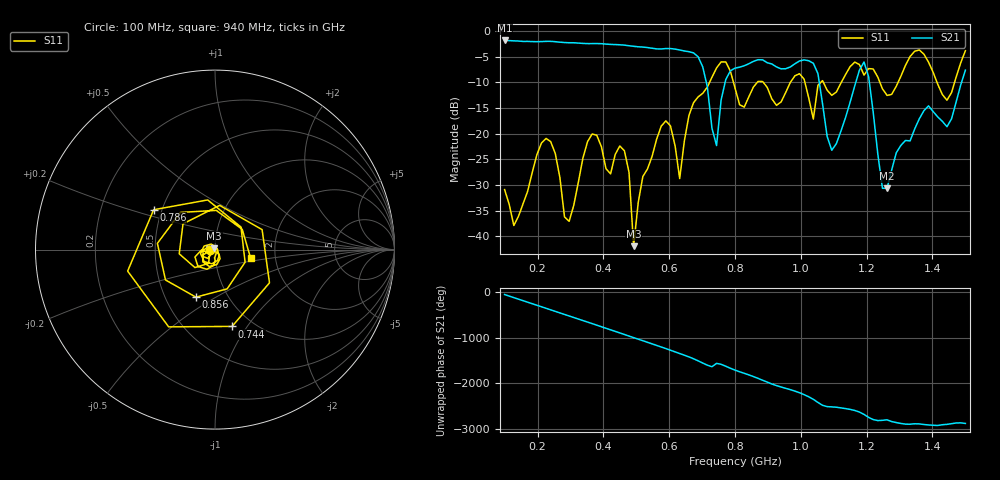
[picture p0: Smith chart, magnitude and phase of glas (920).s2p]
! NanoVNA-App
! Date: 2025-09-25 16:02:38
! Start: 100MHz Stop: 1,5GHz Points: 101
! S-Parameter data: F S11 S21 S12 S22
# Hz S RI R 50
!  Frequency  S11_Real  S11_Imag  S21_Real  S21_Imag  S12_Real  S12_Imag  S22_Real  S22_Imag
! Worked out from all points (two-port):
!   101 points, 100 MHz to 1.5 GHz, reference 50 ohm
!   highest |S21| = -1.80 dB at 100 MHz (marker M1); lowest = -30.7 dB at 1.262 GHz (marker M2)
!   |S21| within 3 dB of the highest: start of sweep to 684.5 MHz
!   lowest |S11| = -42.0 dB at 492 MHz (marker M3), VSWR 1.02, Z = 49.5 + j0.624 ohm
!   |S11| at or under -10 dB: start of sweep to 722.6 MHz; 795.4 MHz to 867.4 MHz (72.01 MHz wide, 8.66 % of centre); 886.2 MHz to 968 MHz (81.79 MHz wide, 8.82 % of centre) (the widest 3 of 7)
!   S12 and S22 are empty: the file has one direction only
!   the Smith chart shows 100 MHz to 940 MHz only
!   S11 on the Smith chart (normalised r, x): 100 MHz: 0.94, -0.01; 744 MHz: 0.81, -0.85; 786 MHz: 0.45, +0.24; 856 MHz: 0.71, -0.41; 940 MHz: 1.49, -0.15
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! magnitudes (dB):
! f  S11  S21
! 100 MHz  -30.9  -1.8
! 128 MHz  -37.9  -1.9
! 226 MHz  -20.9  -2.0
! 296 MHz  -37.1  -2.2
! 338 MHz  -24.7  -2.4
! 464 MHz  -23.3  -2.7
! 492 MHz  -42.0  -2.9
! 576 MHz  -18.5  -3.5
! 632 MHz  -28.8  -3.7
! 702 MHz  -12.1  -7.0
! 744 MHz  -7.2  -22.3
! 786 MHz  -7.8  -7.7
! 800 MHz  -11.1  -7.2
! 856 MHz  -10.9  -5.9
! 940 MHz  -13.8  -7.3
! 1.038 GHz  -17.2  -6.2
! 1.094 GHz  -12.5  -23.2
! 1.192 GHz  -8.6  -6.0
! 1.262 GHz  -12.5  -30.7
! 1.276 GHz  -12.3  -27.1
! 1.444 GHz  -13.5  -18.6
! 1.5 GHz  -3.8  -7.6
